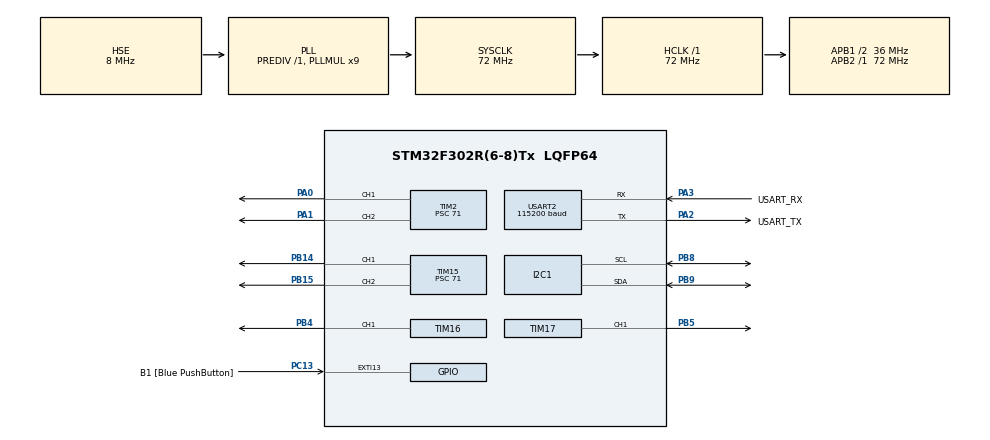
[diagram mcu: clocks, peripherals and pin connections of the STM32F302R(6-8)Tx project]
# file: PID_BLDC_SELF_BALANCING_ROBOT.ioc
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Mcu.Family=STM32F3
Mcu.Name=STM32F302R(6-8)Tx
Mcu.Package=LQFP64
NVIC.EXTI15_10_IRQn=true\:0\:0\:false\:false\:true\:true\:true
NVIC.PriorityGroup=NVIC_PRIORITYGROUP_0
NVIC.TIM2_IRQn=true\:0\:0\:false\:false\:true\:true\:true
NVIC.USART2_IRQn=true\:0\:0\:false\:false\:true\:true\:true
PA0.Signal=S_TIM2_CH1_ETR
PA1.Signal=S_TIM2_CH2
PA13.GPIO_Label=TMS
PA13.Mode=Serial_Wire
PA13.Signal=SYS_JTMS-SWDIO
PA14.GPIO_Label=TCK
PA14.Mode=Serial_Wire
PA14.Signal=SYS_JTCK-SWCLK
PA2.GPIO_Label=USART_TX
PA2.GPIO_Mode=GPIO_MODE_AF_PP
PA2.GPIO_PuPd=GPIO_NOPULL
PA2.GPIO_Speed=GPIO_SPEED_FREQ_LOW
PA2.Mode=Asynchronous
PA2.Signal=USART2_TX
PA3.GPIO_Label=USART_RX
PA3.GPIO_Mode=GPIO_MODE_AF_PP
PA3.GPIO_PuPd=GPIO_NOPULL
PA3.GPIO_Speed=GPIO_SPEED_FREQ_LOW
PA3.Mode=Asynchronous
PA3.Signal=USART2_RX
PB14.Signal=S_TIM15_CH1
PB15.Signal=S_TIM15_CH2
PB3.GPIO_Label=SWO
PB3.Mode=Trace_Asynchronous_SW
PB3.Signal=SYS_JTDO-TRACESWO
PB4.Signal=S_TIM16_CH1
PB5.Signal=S_TIM17_CH1
PB8.Mode=I2C
PB8.Signal=I2C1_SCL
PB9.Mode=I2C
PB9.Signal=I2C1_SDA
PC13.GPIO_Label=B1 [Blue PushButton]
PC13.GPIO_ModeDefaultEXTI=GPIO_MODE_IT_FALLING
PC13.Signal=GPXTI13
PC14\ -\ OSC32_IN.Mode=LSE-External-Oscillator
PC14\ -\ OSC32_IN.Signal=RCC_OSC32_IN
PC15\ -\ OSC32_OUT.Mode=LSE-External-Oscillator
PC15\ -\ OSC32_OUT.Signal=RCC_OSC32_OUT
PF0-OSC_IN.Mode=HSE-External-Clock-Source
PF0-OSC_IN.Signal=RCC_OSC_IN
PF1-OSC_OUT.Signal=RCC_OSC_OUT
ProjectManager.HeapSize=0x200
ProjectManager.StackSize=0x400
ProjectManager.TargetToolchain=STM32CubeIDE
RCC.AHBFreq_Value=72000000
RCC.APB1CLKDivider=RCC_HCLK_DIV2
RCC.APB1Freq_Value=36000000
RCC.APB1TimFreq_Value=72000000
RCC.APB2Freq_Value=72000000
RCC.APB2TimFreq_Value=72000000
RCC.CortexFreq_Value=72000000
RCC.HCLKFreq_Value=72000000
RCC.HSE_VALUE=8000000
RCC.HSI_VALUE=8000000
RCC.PLLM=8
RCC.PLLMUL=RCC_PLL_MUL9
RCC.PLLN=336
RCC.PLLP=RCC_PLLP_DIV4
RCC.PLLQ=7
RCC.PLLSourceVirtual=RCC_PLLSOURCE_HSE
RCC.SYSCLKFreq_VALUE=72000000
RCC.SYSCLKSourceVirtual=RCC_SYSCLKSOURCE_PLLCLK
RCC.USBFreq_Value=72000000
SH.S_TIM15_CH1.0=TIM15_CH1,PWM Generation1 CH1
SH.S_TIM15_CH2.0=TIM15_CH2,PWM Generation2 CH2
SH.S_TIM16_CH1.0=TIM16_CH1,PWM Generation1 CH1
SH.S_TIM17_CH1.0=TIM17_CH1,PWM Generation1 CH1
SH.S_TIM2_CH1_ETR.0=TIM2_CH1,PWM Generation1 CH1
SH.S_TIM2_CH2.0=TIM2_CH2,PWM Generation2 CH2
TIM15.Channel-PWM\ Generation1\ CH1=TIM_CHANNEL_1
TIM15.Channel-PWM\ Generation2\ CH2=TIM_CHANNEL_2
TIM15.OCPolarity_1=TIM_OCPOLARITY_LOW
TIM15.OCPolarity_2=TIM_OCPOLARITY_LOW
TIM15.Period=255
TIM15.Prescaler=71
TIM16.Channel=TIM_CHANNEL_1
TIM16.OCPolarity_1=TIM_OCPOLARITY_LOW
TIM16.Period=255
TIM16.Prescaler=71
TIM17.Channel=TIM_CHANNEL_1
TIM17.OCPolarity_1=TIM_OCPOLARITY_LOW
TIM17.Period=255
TIM17.Prescaler=71
TIM2.Channel-PWM\ Generation1\ CH1=TIM_CHANNEL_1
TIM2.Channel-PWM\ Generation2\ CH2=TIM_CHANNEL_2
TIM2.Period=19999
TIM2.Prescaler=71
USART2.BaudRate=115200
USART2.VirtualMode-Asynchronous=VM_ASYNC
VP_TIM15_VS_ClockSourceINT.Mode=Internal
VP_TIM16_VS_ClockSourceINT.Mode=Enable_Timer
VP_TIM17_VS_ClockSourceINT.Mode=Enable_Timer
VP_TIM2_VS_ClockSourceINT.Mode=Internal
board=NUCLEO-F302R8

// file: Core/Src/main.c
/* USER CODE BEGIN Header */
/**
  ******************************************************************************
  * @file           : main.c
  * @brief          : Main program body
  ******************************************************************************
  * @attention
  *
  * Copyright (c) 2021 STMicroelectronics.
  * All rights reserved.
  *
  * This software is licensed under terms that can be found in the LICENSE file
  * in the root directory of this software component.
  * If no LICENSE file comes with this software, it is provided AS-IS.
  *
  ******************************************************************************
  * Author: Kacper Bukowski
  * Kod został przygotowany do celów dyplomowania na stopień inżyniera Wojskowej Akademii Technicznej
  *
  ******************************************************************************/
/* USER CODE END Header */
#include "main.h"

/* USER CODE BEGIN Includes */
#include "stdio.h"
#include "string.h"
#include "stdlib.h"
/* USER CODE END Includes */

I2C_HandleTypeDef hi2c1;

TIM_HandleTypeDef htim2;
TIM_HandleTypeDef htim15;
TIM_HandleTypeDef htim16;
TIM_HandleTypeDef htim17;

UART_HandleTypeDef huart2;

/* USER CODE BEGIN PV */
uint8_t check_var_value_once = 0;
uint8_t znak; //Przechowywanie informacji o aktualnie pobranym znaku z interfejsu UART
uint32_t throttle_manual = 20; //Zgodnie z dokumentacją producenta sterownika silnika BLDC, minimal throttle = 20%
uint16_t dl_kom; //zmienna przechowująca długość komunikatu przesyłanego poprzez interfejs UART
uint8_t komunikat[350]; //Tablica przechowująca komunikat
uint8_t wybrana_opcja = 'c'; //Aktualnie wybrana opcja z menu (domyślnie 'c')
uint8_t number_of_menu_lines = 10; //Liczba wierszy menu
uint16_t max_duty_cycle = 2000; //Maksymalny czas trwania impulsu PWM
uint16_t min_duty_cycle = 1000; //Minimalny czas trwania impulsu PWM
uint16_t min_duty_cycle_for_balancing = 1210; //Minimalny czas trwania impulsu PWM dla opcji balansowania
uint16_t maximum_motor_power_while_balancing = 29; //Wyrażony w % maksymalny ciąg silnika. Wymagane do zachowania bezpieczeństwa
const char *menu_screen[10] ={
		"PID SELF-BALANCING ROBOT CONFIGURATION PANEL\n\r",
		"Choose the proper option from the menu below:\n\r",
		"1.Control the left BLDC motor manually\n\r",
		"2.Control the right BLDC motor manually\n\r",
		"3.Start balancing\n\r",
		"4.Check Kp value\n\r",
		"5.Check Ki value\n\r",
		"6.Check Kd value\n\r",
		"7.Live MPU values check\n\n\r",
		"You can perform an emergency stop by sending 'h' via USART interface or clicking blue button on the board\n\r"};
uint8_t exit_switch_options = 0; //0 -> główne menu, 1 -> podmenu
float level_correction = 740; // wartość poziomu w osi Y dla akcelerometru
float rgb_animation_counter = 0; // licznik do animacji RGB
pid_bldc_controller_structure pid_regulator;
PID_Motor_Speed_Calculation_Structure PID_Motor;
float min_pid_correction_value = -14000;
float max_pid_correction_value = 14000;

//Współczynniki PID
float Kp = 1.2;
float Ki = 0.0000025;
float Kd = 0.001;
float windup_correction = 300;
/* USER CODE END PV */

void SystemClock_Config(void);
static void MX_GPIO_Init(void);
static void MX_USART2_UART_Init(void);
static void MX_TIM2_Init(void);
static void MX_I2C1_Init(void);
static void MX_TIM15_Init(void);
static void MX_TIM16_Init(void);
static void MX_TIM17_Init(void);

/* USER CODE BEGIN 0 */
void Choosen_USART_Option(uint8_t input_char){
	wybrana_opcja = input_char;
	dl_kom = sprintf((char *)komunikat,"Option no.%d, have been choosen.\n\r",input_char);
	HAL_UART_Transmit(&huart2, komunikat, dl_kom, HAL_MAX_DELAY);
}
void Option_1_performer(uint32_t throttle_manual_input){
	//Sekcja poświęcona obsłudze lewego silnika BLDC
	if (throttle_manual_input < 20)
	{
		throttle_manual_input = 20;
	}
	float throttle_manual_input_temp = ((float)throttle_manual_input/100 * (max_duty_cycle-min_duty_cycle))+min_duty_cycle;
	__HAL_TIM_SET_COMPARE(&htim2, TIM_CHANNEL_1,throttle_manual_input_temp);
}
void Option_2_performer(uint32_t throttle_manual_input){
	//Sekcja poświęcona obsłudze prawego silnika BLDC
	if (throttle_manual_input < 20)
		{
			throttle_manual_input = 20;
		}
	float throttle_manual_input_temp = ((float)throttle_manual_input/100 * (max_duty_cycle-min_duty_cycle))+min_duty_cycle;
	__HAL_TIM_SET_COMPARE(&htim2, TIM_CHANNEL_2,throttle_manual_input_temp);
}
void Option_3_performer(RawData_Def *ACC_DATA){
	float left_motor_speed = PID_Motor_Speed_Calculation_duty_cycle_ms_left(&PID_Motor, pid_calculate(&pid_regulator, level_correction, ACC_DATA->y));
	float right_motor_speed = PID_Motor_Speed_Calculation_duty_cycle_ms_right(&PID_Motor, pid_calculate(&pid_regulator, level_correction, ACC_DATA->y));
	if (left_motor_speed < 1200){
			left_motor_speed = 1200;
		}
	if (right_motor_speed < 1200){
			right_motor_speed = 1200;
		}
	dl_kom = sprintf((char *)komunikat, "PID Correction value: %d\n\n\r",pid_calculate(&pid_regulator, level_correction, ACC_DATA->y)); // @suppress("Float formatting support")
	HAL_UART_Transmit(&huart2, komunikat, dl_kom, HAL_MAX_DELAY);
	dl_kom = sprintf((char *)komunikat, "Left motor power: %d\n\n\r",(int)left_motor_speed); // @suppress("Float formatting support")
	HAL_UART_Transmit(&huart2, komunikat, dl_kom, HAL_MAX_DELAY);
	dl_kom = sprintf((char *)komunikat, "Right motor power: %d\n\n\r",(int)right_motor_speed); // @suppress("Float formatting support")
	HAL_UART_Transmit(&huart2, komunikat, dl_kom, HAL_MAX_DELAY);
	__HAL_TIM_SET_COMPARE(&htim2, TIM_CHANNEL_1,left_motor_speed);
	__HAL_TIM_SET_COMPARE(&htim2, TIM_CHANNEL_2,right_motor_speed+14); //Prawy silnik ma większe opory, wymagana korekta prędkości
}
void Option_4_performer(){
		dl_kom = sprintf((char *)komunikat, "Kp value: %d\n\n\r",(int)Kp);
		HAL_UART_Transmit(&huart2, komunikat, dl_kom, HAL_MAX_DELAY);
}
void Option_5_performer(){
		dl_kom = sprintf((char *)komunikat, "Ki value: %d\n\n\r",(int)Ki);
		HAL_UART_Transmit(&huart2, komunikat, dl_kom, HAL_MAX_DELAY);
}
void Option_6_performer(){
		dl_kom = sprintf((char *)komunikat, "Kd value: %d\n\n\r",(int)Kd);
		HAL_UART_Transmit(&huart2, komunikat, dl_kom, HAL_MAX_DELAY);
}
void Option_7_performer(RawData_Def *MPU6050A_RAW,RawData_Def *MPU6050G_RAW,ScaledData_Def *MPU6050A_Scaled,ScaledData_Def *MPU6050G_Scaled){
	//Sekcja poświęcona przekazywaniu danych z czujnika MPU6050 na interfejs szeregowy
	MPU6050_Get_Accel_RawData(MPU6050A_RAW);
	MPU6050_Get_Gyro_RawData(MPU6050G_RAW);
	MPU6050_Get_Accel_Scale(MPU6050A_Scaled);
	MPU6050_Get_Gyro_Scale(MPU6050G_Scaled);

	//Komunikaty portu szeregowego
	dl_kom = sprintf((char *)komunikat, "RAW ACCEL DATA: X = %d, Y = %d, Z = %d\n\r",MPU6050A_RAW->x,MPU6050A_RAW->y,MPU6050A_RAW->z);
	HAL_UART_Transmit(&huart2, komunikat, dl_kom, HAL_MAX_DELAY);
	dl_kom = sprintf((char *)komunikat, "RAW GYRO DATA: X = %d, Y = %d, Z = %d\n\r",MPU6050G_RAW->x,MPU6050G_RAW->y,MPU6050G_RAW->z);
	HAL_UART_Transmit(&huart2, komunikat, dl_kom, HAL_MAX_DELAY);
	dl_kom = sprintf((char *)komunikat, "SCALED ACCEL DATA: X = %d, Y = %d, Z = %d\n\r",(int)MPU6050A_Scaled->x,(int)MPU6050A_Scaled->y,(int)MPU6050A_Scaled->z); // @suppress("Float formatting support")
	HAL_UART_Transmit(&huart2, komunikat, dl_kom, HAL_MAX_DELAY);
	dl_kom = sprintf((char *)komunikat, "SCALED GYRO DATA: X = %d, Y = %d, Z = %d\n\n\r",(int)MPU6050G_Scaled->x,(int)MPU6050G_Scaled->y,(int)MPU6050G_Scaled->z); // @suppress("Float formatting support")
	HAL_UART_Transmit(&huart2, komunikat, dl_kom, HAL_MAX_DELAY);
	HAL_Delay(500);

}

void MPU6050_Update(RawData_Def *MPU6050A_RAW,RawData_Def *MPU6050G_RAW,ScaledData_Def *MPU6050A_Scaled,ScaledData_Def *MPU6050G_Scaled){
	MPU6050_Get_Accel_RawData(MPU6050A_RAW);
	MPU6050_Get_Gyro_RawData(MPU6050G_RAW);
	MPU6050_Get_Accel_Scale(MPU6050A_Scaled);
	MPU6050_Get_Gyro_Scale(MPU6050G_Scaled);
}

void RGB_LED_Level_Notificator(RawData_Def *MPU6050A_RAW){
	//Obsługa LED

	//Lewy LED RGB
	//Na podstawie danych RAW z akcelerometru w osi Y (zgodnie z oznaczeniami na module MPU6050)
	float duty_g;
	float duty_r;
	float correction_variable;

	if(MPU6050A_RAW->y > level_correction){
		//Obliczenie wypełnienia PWM
		correction_variable = (6100 - level_correction)/255;
		duty_g = abs(MPU6050A_RAW->y - level_correction) / correction_variable;
		duty_r = 255 - (abs(MPU6050A_RAW->y - level_correction) / correction_variable);

		//Ustawienie koloru
		__HAL_TIM_SET_COMPARE(&htim15, TIM_CHANNEL_2,duty_g);
		__HAL_TIM_SET_COMPARE(&htim15, TIM_CHANNEL_1,duty_r);
	}
	else if(MPU6050A_RAW->y < level_correction){
		duty_r = 255;
		__HAL_TIM_SET_COMPARE(&htim15, TIM_CHANNEL_1,duty_r);
		__HAL_TIM_SET_COMPARE(&htim15, TIM_CHANNEL_2,1);
	}
	else
	{
		__HAL_TIM_SET_COMPARE(&htim15, TIM_CHANNEL_1,255);
		HAL_Delay(200);
		__HAL_TIM_SET_COMPARE(&htim15, TIM_CHANNEL_2,255);
		HAL_Delay(200);
	}

	//Prawy LED RGB
	//Na podstawie danych RAW z akcelerometru w osi Y (zgodnie z oznaczeniami na module MPU6050)
	if(MPU6050A_RAW->y < level_correction){
			//Obliczenie wypełnienia PWM
			correction_variable = abs((5700 - level_correction)/255);
			duty_g = abs(MPU6050A_RAW->y - level_correction) / correction_variable;
			duty_r = 255 - (abs(MPU6050A_RAW->y - level_correction) / correction_variable);

			//Ustawienie koloru
			__HAL_TIM_SET_COMPARE(&htim16, TIM_CHANNEL_1,duty_g);
			__HAL_TIM_SET_COMPARE(&htim17, TIM_CHANNEL_1,duty_r);
		}
		else if(MPU6050A_RAW->y > level_correction){
			duty_r = 255;
			__HAL_TIM_SET_COMPARE(&htim17, TIM_CHANNEL_1,duty_r);
			__HAL_TIM_SET_COMPARE(&htim16, TIM_CHANNEL_1,1);
		}
		else
		{
			__HAL_TIM_SET_COMPARE(&htim16, TIM_CHANNEL_1,255);
			HAL_Delay(200);
			__HAL_TIM_SET_COMPARE(&htim17, TIM_CHANNEL_1,255);
			HAL_Delay(200);
		}
}

void RGB_Standby_Animation(){
	if(rgb_animation_counter <= 255){
		//Animowanie lewej diody RGB
			__HAL_TIM_SET_COMPARE(&htim15, TIM_CHANNEL_1,abs(rgb_animation_counter));
			__HAL_TIM_SET_COMPARE(&htim15, TIM_CHANNEL_2,255 - abs(rgb_animation_counter));
		//Animowanie prawej diody RGB
			__HAL_TIM_SET_COMPARE(&htim17, TIM_CHANNEL_1,abs(rgb_animation_counter));
			__HAL_TIM_SET_COMPARE(&htim16, TIM_CHANNEL_1,255 - abs(rgb_animation_counter));

		//Inkrementacja zmiennej rgb_animation_counter
			HAL_Delay(2);
			rgb_animation_counter++;
	}
	else{
		rgb_animation_counter = -255;
	}
}

void Stop_BLDCs (){
	//Zatrzymywanie silników (lewy+prawy)
	__HAL_TIM_SET_COMPARE(&htim2, TIM_CHANNEL_1,min_duty_cycle);
	__HAL_TIM_SET_COMPARE(&htim2, TIM_CHANNEL_2,min_duty_cycle);
}
/* USER CODE END 0 */

int main(void)
{
  /* USER CODE BEGIN 1 */

  //Struktury danych MPU
  MPU_ConfigTypeDef MPU6050_Config_DATA; //Dane konfiguracyjne
  RawData_Def MPU6050A_RAW, MPU6050G_RAW; //Dane z czujnika (nieprzetworzone)
  ScaledData_Def MPU6050A_Scaled, MPU6050G_Scaled; //Dane z czujnika (przetworzone filtrem Kalmana)

  /* USER CODE END 1 */

  /* MCU Configuration--------------------------------------------------------*/

  /* Reset of all peripherals, Initializes the Flash interface and the Systick. */
  HAL_Init();

  /* Configure the system clock */
  SystemClock_Config();

  /* Initialize all configured peripherals */
  MX_GPIO_Init();
  MX_USART2_UART_Init();
  MX_TIM2_Init();
  MX_I2C1_Init();
  MX_TIM15_Init();
  MX_TIM16_Init();
  MX_TIM17_Init();
  /* USER CODE BEGIN 2 */

  //Inicjalizacja modułu MPU6050 i połączenia I2C
  MPU6050_Init(&hi2c1);

  //Konfiguracja modułu MPU6050
  MPU6050_Config_DATA.Accel_Full_Scale = AFS_SEL_4g;
  MPU6050_Config_DATA.ClockSource = Internal_8MHz;
  MPU6050_Config_DATA.CONFIG_DLPF = DLPF_184A_188G_Hz;
  MPU6050_Config_DATA.Gyro_Full_Scale = FS_SEL_500;
  MPU6050_Config_DATA.Sleep_Mode_Bit = 0;
  MPU6050_Config(&MPU6050_Config_DATA);

  //Inicjalizacja generatora sygnału PWM oraz wyłączenie silników BLDC
  HAL_UART_Receive_IT(&huart2, &znak, 1);
  HAL_TIM_PWM_Start(&htim2, TIM_CHANNEL_1);
  HAL_TIM_PWM_Start(&htim2, TIM_CHANNEL_2);
  HAL_TIM_PWM_Start(&htim15, TIM_CHANNEL_1); // Lewa G
  HAL_TIM_PWM_Start(&htim15, TIM_CHANNEL_2); // Lewa R
  HAL_TIM_PWM_Start(&htim16, TIM_CHANNEL_1); // Prawa G
  HAL_TIM_PWM_Start(&htim17, TIM_CHANNEL_1); // Prawa R
  Stop_BLDCs();
  pid_init(&pid_regulator, Kp, Ki, Kd, windup_correction);
  PID_Motor_Speed_Calculation_Init(&PID_Motor, maximum_motor_power_while_balancing, max_duty_cycle, min_duty_cycle_for_balancing, min_pid_correction_value, max_pid_correction_value);
  /* USER CODE END 2 */

  /* Infinite loop */
  /* USER CODE BEGIN WHILE */
  while (1)
  {
	  //Pętla nieskończona wykonywana jest na podstawie wybranej opcji z menu. Wybór odbywa się w trybie przerwaniowym.
	  switch(wybrana_opcja){
	  case 1:
		  // Obsługa opcji numer 1 z menu: "1.Control the left BLDC motor manually"
		  Option_1_performer(throttle_manual);
		  break;
	  case 2:
		  // Obsługa opcji numer 2 z menu: "2.Control the right BLDC motor manually"
		  Option_2_performer(throttle_manual);
		  break;
	  case 3:
		  // Obsługa opcji numer 3 z menu: "3.Start balancing"
		  MPU6050_Update(&MPU6050A_RAW, &MPU6050G_RAW, &MPU6050A_Scaled, &MPU6050G_Scaled);
		  Option_3_performer(&MPU6050A_RAW);
		  RGB_LED_Level_Notificator(&MPU6050A_RAW);
		  break;
	  case 4:
		  // Obsługa opcji numer 4 z menu: "4.Check Kp value"
		  if (check_var_value_once == 0){
			  Option_4_performer();
			  check_var_value_once = 1;
		  }
		  break;
	  case 5:
		  // Obsługa opcji numer 5 z menu: "5.Check Ki value"
		  if (check_var_value_once == 0){
			  Option_5_performer();
			  check_var_value_once = 1;
		  }
		  break;
	  case 6:
		  // Obsługa opcji numer 6 z menu: "6.Check Kd value"
		  if (check_var_value_once == 0){
			  Option_5_performer();
			  check_var_value_once = 1;
		  }
		  break;
	  case 7:
		  // Obsługa opcji numer 7 z menu: "7.Live MPU values check"
		  Option_7_performer(&MPU6050A_RAW, &MPU6050G_RAW, &MPU6050A_Scaled, &MPU6050G_Scaled);
		  RGB_LED_Level_Notificator(&MPU6050A_RAW);
		  break;
	  case 'c':
		  // Obsługa powrotu do menu głównego
		  Stop_BLDCs();
		  RGB_Standby_Animation();
		  check_var_value_once = 0;
		  pid_reset(&pid_regulator);
		  break;
	  case 'h':
		  // Obsługa awaryjnego zatrzymania silników
		  Stop_BLDCs();
		  break;
	  }

    /* USER CODE END WHILE */

  }
}

void SystemClock_Config(void)
{
  RCC_OscInitTypeDef RCC_OscInitStruct = {0};
  RCC_ClkInitTypeDef RCC_ClkInitStruct = {0};
  RCC_PeriphCLKInitTypeDef PeriphClkInit = {0};

  /** Initializes the RCC Oscillators according to the specified parameters
  * in the RCC_OscInitTypeDef structure.
  */
  RCC_OscInitStruct.OscillatorType = RCC_OSCILLATORTYPE_HSI|RCC_OSCILLATORTYPE_HSE;
  RCC_OscInitStruct.HSEState = RCC_HSE_BYPASS;
  RCC_OscInitStruct.HSEPredivValue = RCC_HSE_PREDIV_DIV1;
  RCC_OscInitStruct.HSIState = RCC_HSI_ON;
  RCC_OscInitStruct.HSICalibrationValue = RCC_HSICALIBRATION_DEFAULT;
  RCC_OscInitStruct.PLL.PLLState = RCC_PLL_ON;
  RCC_OscInitStruct.PLL.PLLSource = RCC_PLLSOURCE_HSE;
  RCC_OscInitStruct.PLL.PLLMUL = RCC_PLL_MUL9;
  if (HAL_RCC_OscConfig(&RCC_OscInitStruct) != HAL_OK)
  {
    Error_Handler();
  }
  /** Initializes the CPU, AHB and APB buses clocks
  */
  RCC_ClkInitStruct.ClockType = RCC_CLOCKTYPE_HCLK|RCC_CLOCKTYPE_SYSCLK
                              |RCC_CLOCKTYPE_PCLK1|RCC_CLOCKTYPE_PCLK2;
  RCC_ClkInitStruct.SYSCLKSource = RCC_SYSCLKSOURCE_PLLCLK;
  RCC_ClkInitStruct.AHBCLKDivider = RCC_SYSCLK_DIV1;
  RCC_ClkInitStruct.APB1CLKDivider = RCC_HCLK_DIV2;
  RCC_ClkInitStruct.APB2CLKDivider = RCC_HCLK_DIV1;

  if (HAL_RCC_ClockConfig(&RCC_ClkInitStruct, FLASH_LATENCY_2) != HAL_OK)
  {
    Error_Handler();
  }
  PeriphClkInit.PeriphClockSelection = RCC_PERIPHCLK_I2C1|RCC_PERIPHCLK_TIM15
                              |RCC_PERIPHCLK_TIM16|RCC_PERIPHCLK_TIM17;
  PeriphClkInit.I2c1ClockSelection = RCC_I2C1CLKSOURCE_HSI;
  PeriphClkInit.Tim15ClockSelection = RCC_TIM15CLK_HCLK;
  PeriphClkInit.Tim16ClockSelection = RCC_TIM16CLK_HCLK;
  PeriphClkInit.Tim17ClockSelection = RCC_TIM17CLK_HCLK;
  if (HAL_RCCEx_PeriphCLKConfig(&PeriphClkInit) != HAL_OK)
  {
    Error_Handler();
  }
}

static void MX_I2C1_Init(void)
{

  hi2c1.Instance = I2C1;
  hi2c1.Init.Timing = 0x2000090E;
  hi2c1.Init.OwnAddress1 = 0;
  hi2c1.Init.AddressingMode = I2C_ADDRESSINGMODE_7BIT;
  hi2c1.Init.DualAddressMode = I2C_DUALADDRESS_DISABLE;
  hi2c1.Init.OwnAddress2 = 0;
  hi2c1.Init.OwnAddress2Masks = I2C_OA2_NOMASK;
  hi2c1.Init.GeneralCallMode = I2C_GENERALCALL_DISABLE;
  hi2c1.Init.NoStretchMode = I2C_NOSTRETCH_DISABLE;
  if (HAL_I2C_Init(&hi2c1) != HAL_OK)
  {
    Error_Handler();
  }
  /** Configure Analogue filter
  */
  if (HAL_I2CEx_ConfigAnalogFilter(&hi2c1, I2C_ANALOGFILTER_ENABLE) != HAL_OK)
  {
    Error_Handler();
  }
  /** Configure Digital filter
  */
  if (HAL_I2CEx_ConfigDigitalFilter(&hi2c1, 0) != HAL_OK)
  {
    Error_Handler();
  }

}

static void MX_TIM2_Init(void)
{

  TIM_ClockConfigTypeDef sClockSourceConfig = {0};
  TIM_MasterConfigTypeDef sMasterConfig = {0};
  TIM_OC_InitTypeDef sConfigOC = {0};

  htim2.Instance = TIM2;
  htim2.Init.Prescaler = 71;
  htim2.Init.CounterMode = TIM_COUNTERMODE_UP;
  htim2.Init.Period = 19999;
  htim2.Init.ClockDivision = TIM_CLOCKDIVISION_DIV1;
  htim2.Init.AutoReloadPreload = TIM_AUTORELOAD_PRELOAD_DISABLE;
  if (HAL_TIM_Base_Init(&htim2) != HAL_OK)
  {
    Error_Handler();
  }
  sClockSourceConfig.ClockSource = TIM_CLOCKSOURCE_INTERNAL;
  if (HAL_TIM_ConfigClockSource(&htim2, &sClockSourceConfig) != HAL_OK)
  {
    Error_Handler();
  }
  if (HAL_TIM_PWM_Init(&htim2) != HAL_OK)
  {
    Error_Handler();
  }
  sMasterConfig.MasterOutputTrigger = TIM_TRGO_RESET;
  sMasterConfig.MasterSlaveMode = TIM_MASTERSLAVEMODE_DISABLE;
  if (HAL_TIMEx_MasterConfigSynchronization(&htim2, &sMasterConfig) != HAL_OK)
  {
    Error_Handler();
  }
  sConfigOC.OCMode = TIM_OCMODE_PWM1;
  sConfigOC.Pulse = 0;
  sConfigOC.OCPolarity = TIM_OCPOLARITY_HIGH;
  sConfigOC.OCFastMode = TIM_OCFAST_DISABLE;
  if (HAL_TIM_PWM_ConfigChannel(&htim2, &sConfigOC, TIM_CHANNEL_1) != HAL_OK)
  {
    Error_Handler();
  }
  if (HAL_TIM_PWM_ConfigChannel(&htim2, &sConfigOC, TIM_CHANNEL_2) != HAL_OK)
  {
    Error_Handler();
  }
  HAL_TIM_MspPostInit(&htim2);

}

static void MX_TIM15_Init(void)
{

  TIM_ClockConfigTypeDef sClockSourceConfig = {0};
  TIM_MasterConfigTypeDef sMasterConfig = {0};
  TIM_OC_InitTypeDef sConfigOC = {0};
  TIM_BreakDeadTimeConfigTypeDef sBreakDeadTimeConfig = {0};

  htim15.Instance = TIM15;
  htim15.Init.Prescaler = 71;
  htim15.Init.CounterMode = TIM_COUNTERMODE_UP;
  htim15.Init.Period = 255;
  htim15.Init.ClockDivision = TIM_CLOCKDIVISION_DIV1;
  htim15.Init.RepetitionCounter = 0;
  htim15.Init.AutoReloadPreload = TIM_AUTORELOAD_PRELOAD_DISABLE;
  if (HAL_TIM_Base_Init(&htim15) != HAL_OK)
  {
    Error_Handler();
  }
  sClockSourceConfig.ClockSource = TIM_CLOCKSOURCE_INTERNAL;
  if (HAL_TIM_ConfigClockSource(&htim15, &sClockSourceConfig) != HAL_OK)
  {
    Error_Handler();
  }
  if (HAL_TIM_PWM_Init(&htim15) != HAL_OK)
  {
    Error_Handler();
  }
  sMasterConfig.MasterOutputTrigger = TIM_TRGO_RESET;
  sMasterConfig.MasterSlaveMode = TIM_MASTERSLAVEMODE_DISABLE;
  if (HAL_TIMEx_MasterConfigSynchronization(&htim15, &sMasterConfig) != HAL_OK)
  {
    Error_Handler();
  }
  sConfigOC.OCMode = TIM_OCMODE_PWM1;
  sConfigOC.Pulse = 0;
  sConfigOC.OCPolarity = TIM_OCPOLARITY_LOW;
  sConfigOC.OCNPolarity = TIM_OCNPOLARITY_HIGH;
  sConfigOC.OCFastMode = TIM_OCFAST_DISABLE;
  sConfigOC.OCIdleState = TIM_OCIDLESTATE_RESET;
  sConfigOC.OCNIdleState = TIM_OCNIDLESTATE_RESET;
  if (HAL_TIM_PWM_ConfigChannel(&htim15, &sConfigOC, TIM_CHANNEL_1) != HAL_OK)
  {
    Error_Handler();
  }
  if (HAL_TIM_PWM_ConfigChannel(&htim15, &sConfigOC, TIM_CHANNEL_2) != HAL_OK)
  {
    Error_Handler();
  }
  sBreakDeadTimeConfig.OffStateRunMode = TIM_OSSR_DISABLE;
  sBreakDeadTimeConfig.OffStateIDLEMode = TIM_OSSI_DISABLE;
  sBreakDeadTimeConfig.LockLevel = TIM_LOCKLEVEL_OFF;
  sBreakDeadTimeConfig.DeadTime = 0;
  sBreakDeadTimeConfig.BreakState = TIM_BREAK_DISABLE;
  sBreakDeadTimeConfig.BreakPolarity = TIM_BREAKPOLARITY_HIGH;
  sBreakDeadTimeConfig.BreakFilter = 0;
  sBreakDeadTimeConfig.AutomaticOutput = TIM_AUTOMATICOUTPUT_DISABLE;
  if (HAL_TIMEx_ConfigBreakDeadTime(&htim15, &sBreakDeadTimeConfig) != HAL_OK)
  {
    Error_Handler();
  }
  HAL_TIM_MspPostInit(&htim15);

}

static void MX_TIM16_Init(void)
{

  TIM_OC_InitTypeDef sConfigOC = {0};
  TIM_BreakDeadTimeConfigTypeDef sBreakDeadTimeConfig = {0};

  htim16.Instance = TIM16;
  htim16.Init.Prescaler = 71;
  htim16.Init.CounterMode = TIM_COUNTERMODE_UP;
  htim16.Init.Period = 255;
  htim16.Init.ClockDivision = TIM_CLOCKDIVISION_DIV1;
  htim16.Init.RepetitionCounter = 0;
  htim16.Init.AutoReloadPreload = TIM_AUTORELOAD_PRELOAD_DISABLE;
  if (HAL_TIM_Base_Init(&htim16) != HAL_OK)
  {
    Error_Handler();
  }
  if (HAL_TIM_PWM_Init(&htim16) != HAL_OK)
  {
    Error_Handler();
  }
  sConfigOC.OCMode = TIM_OCMODE_PWM1;
  sConfigOC.Pulse = 0;
  sConfigOC.OCPolarity = TIM_OCPOLARITY_LOW;
  sConfigOC.OCNPolarity = TIM_OCNPOLARITY_HIGH;
  sConfigOC.OCFastMode = TIM_OCFAST_DISABLE;
  sConfigOC.OCIdleState = TIM_OCIDLESTATE_RESET;
  sConfigOC.OCNIdleState = TIM_OCNIDLESTATE_RESET;
  if (HAL_TIM_PWM_ConfigChannel(&htim16, &sConfigOC, TIM_CHANNEL_1) != HAL_OK)
  {
    Error_Handler();
  }
  sBreakDeadTimeConfig.OffStateRunMode = TIM_OSSR_DISABLE;
  sBreakDeadTimeConfig.OffStateIDLEMode = TIM_OSSI_DISABLE;
  sBreakDeadTimeConfig.LockLevel = TIM_LOCKLEVEL_OFF;
  sBreakDeadTimeConfig.DeadTime = 0;
  sBreakDeadTimeConfig.BreakState = TIM_BREAK_DISABLE;
  sBreakDeadTimeConfig.BreakPolarity = TIM_BREAKPOLARITY_HIGH;
  sBreakDeadTimeConfig.BreakFilter = 0;
  sBreakDeadTimeConfig.AutomaticOutput = TIM_AUTOMATICOUTPUT_DISABLE;
  if (HAL_TIMEx_ConfigBreakDeadTime(&htim16, &sBreakDeadTimeConfig) != HAL_OK)
  {
    Error_Handler();
  }
  HAL_TIM_MspPostInit(&htim16);

}

static void MX_TIM17_Init(void)
{

  TIM_OC_InitTypeDef sConfigOC = {0};
  TIM_BreakDeadTimeConfigTypeDef sBreakDeadTimeConfig = {0};

  htim17.Instance = TIM17;
  htim17.Init.Prescaler = 71;
  htim17.Init.CounterMode = TIM_COUNTERMODE_UP;
  htim17.Init.Period = 255;
  htim17.Init.ClockDivision = TIM_CLOCKDIVISION_DIV1;
  htim17.Init.RepetitionCounter = 0;
  htim17.Init.AutoReloadPreload = TIM_AUTORELOAD_PRELOAD_DISABLE;
  if (HAL_TIM_Base_Init(&htim17) != HAL_OK)
  {
    Error_Handler();
  }
  if (HAL_TIM_PWM_Init(&htim17) != HAL_OK)
  {
    Error_Handler();
  }
  sConfigOC.OCMode = TIM_OCMODE_PWM1;
  sConfigOC.Pulse = 0;
  sConfigOC.OCPolarity = TIM_OCPOLARITY_LOW;
  sConfigOC.OCNPolarity = TIM_OCNPOLARITY_HIGH;
  sConfigOC.OCFastMode = TIM_OCFAST_DISABLE;
  sConfigOC.OCIdleState = TIM_OCIDLESTATE_RESET;
  sConfigOC.OCNIdleState = TIM_OCNIDLESTATE_RESET;
  if (HAL_TIM_PWM_ConfigChannel(&htim17, &sConfigOC, TIM_CHANNEL_1) != HAL_OK)
  {
    Error_Handler();
  }
  sBreakDeadTimeConfig.OffStateRunMode = TIM_OSSR_DISABLE;
  sBreakDeadTimeConfig.OffStateIDLEMode = TIM_OSSI_DISABLE;
  sBreakDeadTimeConfig.LockLevel = TIM_LOCKLEVEL_OFF;
  sBreakDeadTimeConfig.DeadTime = 0;
  sBreakDeadTimeConfig.BreakState = TIM_BREAK_DISABLE;
  sBreakDeadTimeConfig.BreakPolarity = TIM_BREAKPOLARITY_HIGH;
  sBreakDeadTimeConfig.BreakFilter = 0;
  sBreakDeadTimeConfig.AutomaticOutput = TIM_AUTOMATICOUTPUT_DISABLE;
  if (HAL_TIMEx_ConfigBreakDeadTime(&htim17, &sBreakDeadTimeConfig) != HAL_OK)
  {
    Error_Handler();
  }
  HAL_TIM_MspPostInit(&htim17);

}

static void MX_USART2_UART_Init(void)
{

  huart2.Instance = USART2;
  huart2.Init.BaudRate = 115200;
  huart2.Init.WordLength = UART_WORDLENGTH_8B;
  huart2.Init.StopBits = UART_STOPBITS_1;
  huart2.Init.Parity = UART_PARITY_NONE;
  huart2.Init.Mode = UART_MODE_TX_RX;
  huart2.Init.HwFlowCtl = UART_HWCONTROL_NONE;
  huart2.Init.OverSampling = UART_OVERSAMPLING_16;
  huart2.Init.OneBitSampling = UART_ONE_BIT_SAMPLE_DISABLE;
  huart2.AdvancedInit.AdvFeatureInit = UART_ADVFEATURE_NO_INIT;
  if (HAL_UART_Init(&huart2) != HAL_OK)
  {
    Error_Handler();
  }

}

static void MX_GPIO_Init(void)
{
  GPIO_InitTypeDef GPIO_InitStruct = {0};

  /* GPIO Ports Clock Enable */
  __HAL_RCC_GPIOC_CLK_ENABLE();
  __HAL_RCC_GPIOF_CLK_ENABLE();
  __HAL_RCC_GPIOA_CLK_ENABLE();
  __HAL_RCC_GPIOB_CLK_ENABLE();

  /*Configure GPIO pin : B1_Pin */
  GPIO_InitStruct.Pin = B1_Pin;
  GPIO_InitStruct.Mode = GPIO_MODE_IT_FALLING;
  GPIO_InitStruct.Pull = GPIO_NOPULL;
  HAL_GPIO_Init(B1_GPIO_Port, &GPIO_InitStruct);

  /* EXTI interrupt init*/
  HAL_NVIC_SetPriority(EXTI15_10_IRQn, 0, 0);
  HAL_NVIC_EnableIRQ(EXTI15_10_IRQn);

}

/* USER CODE BEGIN 4 */
void HAL_UART_RxCpltCallback(UART_HandleTypeDef *huart){

	if(huart->Instance == USART2){
		if(znak == 'c'){
			for (uint8_t i=0; i<number_of_menu_lines;i++){
				dl_kom = sprintf((char *)komunikat,menu_screen[i]);
				HAL_UART_Transmit(&huart2, komunikat, dl_kom, HAL_MAX_DELAY);
				exit_switch_options = 0;
				wybrana_opcja = znak;
			}
		}
		else if(znak =='h'){
			dl_kom = sprintf((char *)komunikat, "\n\n\rPerforming EMERGENCY STOP!\n\n\r");
			HAL_UART_Transmit(&huart2, komunikat, dl_kom, HAL_MAX_DELAY);
			wybrana_opcja = znak;
		}
		else if(exit_switch_options == 0)
		{
			switch(znak){
			case 1:
				throttle_manual = 0;
				Choosen_USART_Option(znak);
				dl_kom = sprintf((char *)komunikat, "Control the throttle of the left motor by sending integer values (0-100).\n\r To exit this mode type 'c'\n\n\r");
				HAL_UART_Transmit(&huart2, komunikat, dl_kom, HAL_MAX_DELAY);
				dl_kom = sprintf((char *)komunikat, "Starting the left motor...\n\r");
				HAL_UART_Transmit(&huart2, komunikat, dl_kom, HAL_MAX_DELAY);
				dl_kom = sprintf((char *)komunikat, "Use numbers to control the throttle\n\r");
				HAL_UART_Transmit(&huart2, komunikat, dl_kom, HAL_MAX_DELAY);
				exit_switch_options = 1;
				break;
			case 2:
				throttle_manual = 0;
				Choosen_USART_Option(znak);
				dl_kom = sprintf((char *)komunikat, "Control the throttle of the right motor by sending integer values (0-100).\n\r To exit this mode type 'c'\n\n\r");
				HAL_UART_Transmit(&huart2, komunikat, dl_kom, HAL_MAX_DELAY);
				dl_kom = sprintf((char *)komunikat, "Starting the right motor...\n\r");
				HAL_UART_Transmit(&huart2, komunikat, dl_kom, HAL_MAX_DELAY);
				dl_kom = sprintf((char *)komunikat, "Use numbers to control the throttle\n\r");
				HAL_UART_Transmit(&huart2, komunikat, dl_kom, HAL_MAX_DELAY);
				exit_switch_options = 1;
				break;
			case 3:
				Choosen_USART_Option(znak);
				break;
			case 4:
				Choosen_USART_Option(znak);
				break;
			case 5:
				Choosen_USART_Option(znak);
				break;
			case 6:
				Choosen_USART_Option(znak);
				break;
			case 7:
				Choosen_USART_Option(znak);
				break;
			default:
				dl_kom = sprintf((char *)komunikat, "\n\n\r The given option is not available in the menu scope. Please try again.\n\n\r");
				HAL_UART_Transmit(&huart2, komunikat, dl_kom, HAL_MAX_DELAY);
			}
		}
		else
		{
			switch (wybrana_opcja){
			case 1:
				if(znak >= 0 && znak <= 100){
					throttle_manual = znak;
					dl_kom = sprintf((char *)komunikat, "Setting throttle value to %d!\n\r",znak);
					HAL_UART_Transmit(&huart2, komunikat, dl_kom, HAL_MAX_DELAY);
				}
				else{
					dl_kom = sprintf((char *)komunikat, "Wrong value!\n\r");
					HAL_UART_Transmit(&huart2, komunikat, dl_kom, HAL_MAX_DELAY);
				}
			case 2:
				if(znak >= 0 && znak <= 100){
					throttle_manual = znak;
					dl_kom = sprintf((char *)komunikat, "Setting throttle value to %d!\n\r",znak);
					HAL_UART_Transmit(&huart2, komunikat, dl_kom, HAL_MAX_DELAY);
				}
				else{
					dl_kom = sprintf((char *)komunikat, "Wrong value!\n\r");
					HAL_UART_Transmit(&huart2, komunikat, dl_kom, HAL_MAX_DELAY);
				}
			}

		}
	}
	HAL_UART_Receive_IT(&huart2, &znak, 1);
}

void HAL_GPIO_EXTI_Callback(uint16_t GPIO_Pin){

	if (GPIO_Pin == B1_Pin){
		wybrana_opcja = 'h';
		dl_kom = sprintf((char *)komunikat, "\n\n\rPerforming EMERGENCY STOP!\n\n\r");
		HAL_UART_Transmit(&huart2, komunikat, dl_kom, HAL_MAX_DELAY);

	}
}
/* USER CODE END 4 */

void Error_Handler(void)
{
  __disable_irq();
  while (1)
  {
  }
}
